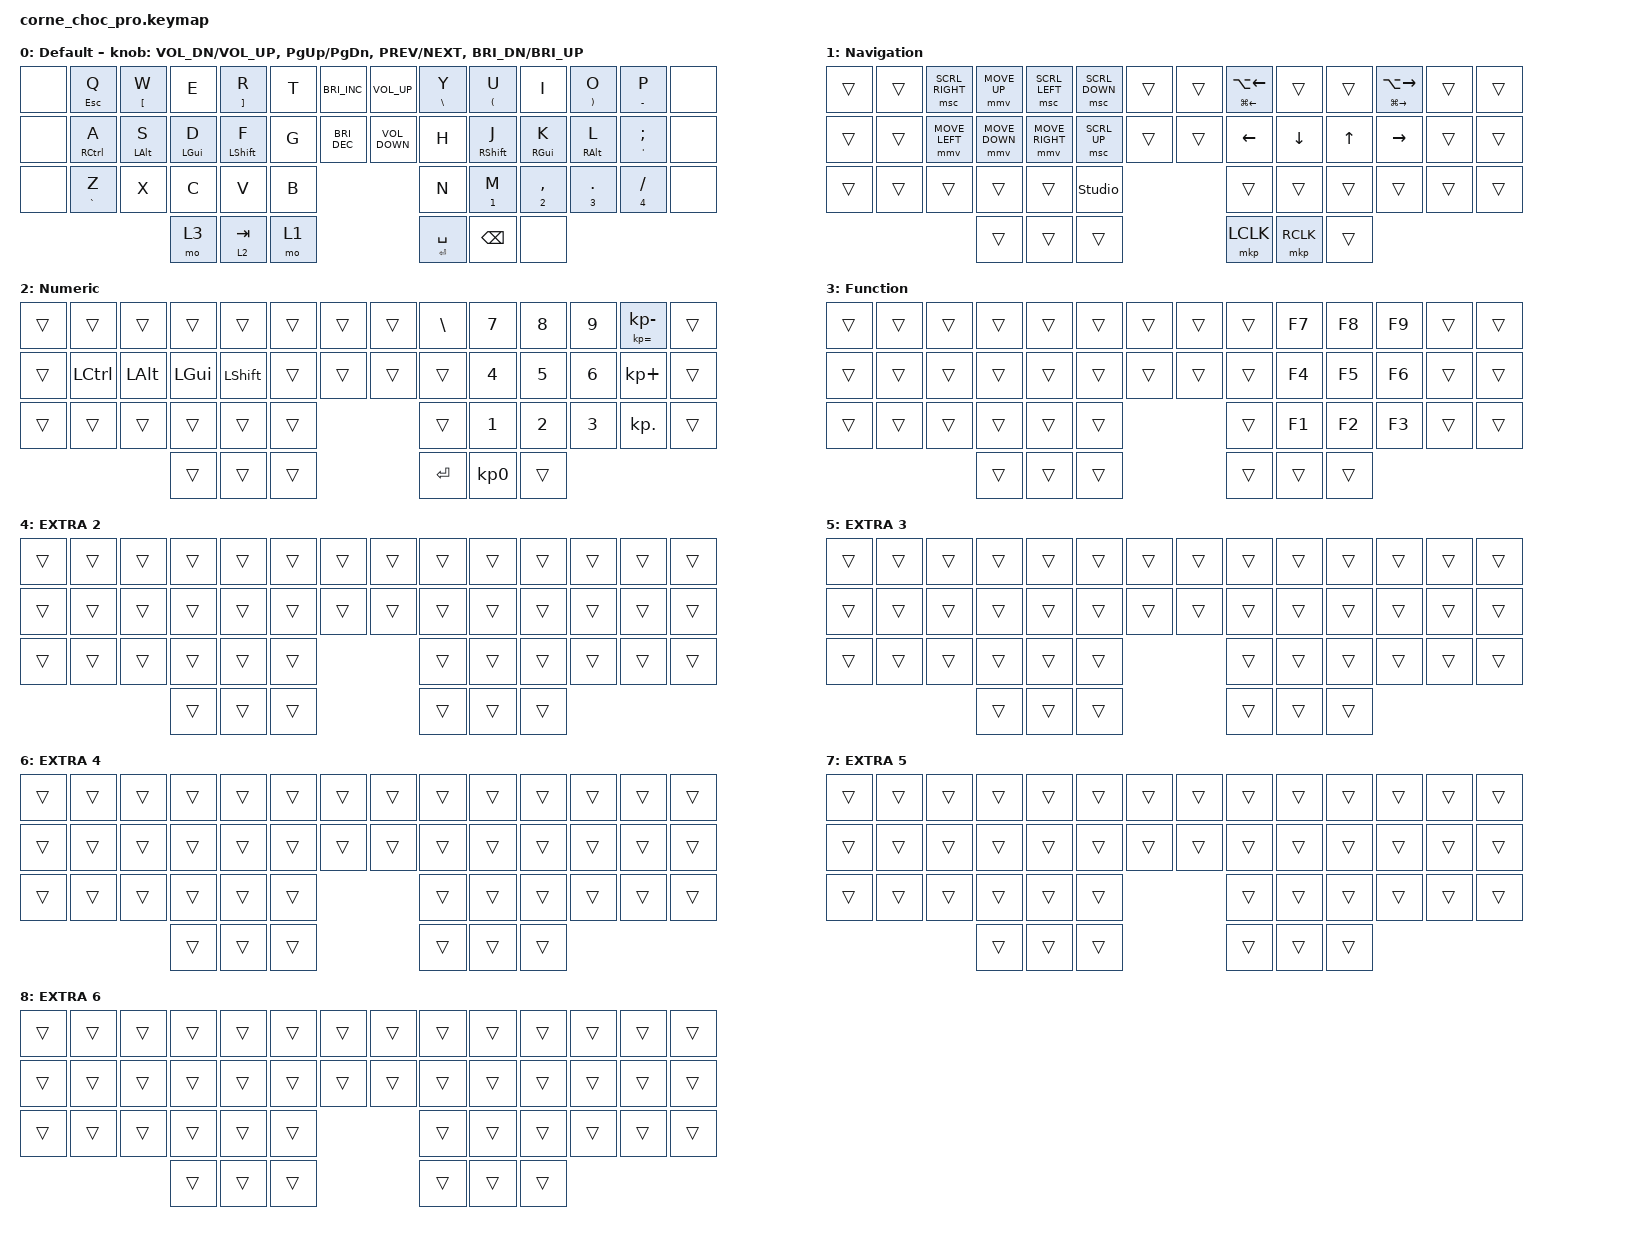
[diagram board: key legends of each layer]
/*
 * Copyright (c) 2020 The ZMK Contributors
 *
 * SPDX-License-Identifier: MIT
 */

#include <behaviors.dtsi>
#include <dt-bindings/zmk/keys.h>
#include <dt-bindings/zmk/pointing.h>

/ {
    chosen { zmk,physical-layout = &default_layout; };
};

&mt {
    tapping-term-ms = <200>; // 200 is the value set by default
    flavor = "tap-preferred";
};

/ {
    combos {
        compatible = "zmk,combos";

        MiddleClick {
            bindings = <&mkp MCLK>;
            key-positions = <43 44>;
            layers = <1>;
        };
    };

    keymap {
        compatible = "zmk,keymap";

        default_layer {
            display-name = "Default";

            // --------------------------------------------------------------------------------
            // |  TAB |  Q  |  W  |  E  |  R  |  T  |  MUTE |  PP   |  Y  |  U   |  I  |  O  |  P  | BSPC |
            // | CTRL |  A  |  S  |  D  |  F  |  G  |  LALT |  RALT |  H  |  J   |  K  |  L  |  ;  |  '   |
            // | SHFT |  Z  |  X  |  C  |  V  |  B  |               |  N  |  M   |  ,  |  .  |  /  | ESC  |
            //                    | GUI | LWR | SPC |               | ENT | RSE  | ALT |

            bindings = <
&none  &mt ESCAPE Q         &mt LEFT_BRACKET W  &kp E           &mt RIGHT_BRACKET R  &kp T  &kp C_BRIGHTNESS_INC  &kp C_VOLUME_UP    &mt BACKSLASH Y  &mt LEFT_PARENTHESIS U  &kp I               &mt RIGHT_PARENTHESIS O  &mt MINUS P         &none
&none  &mt RIGHT_CONTROL A  &mt LEFT_ALT S      &mt LEFT_GUI D  &mt LEFT_SHIFT F     &kp G  &kp C_BRIGHTNESS_DEC  &kp C_VOLUME_DOWN  &kp H            &mt RIGHT_SHIFT J       &mt RIGHT_GUI K     &mt RIGHT_ALT L          &mt SQT SEMICOLON   &none
&none  &mt GRAVE Z          &kp X               &kp C           &kp V                &kp B                                           &kp N            &mt NUMBER_1 M          &mt NUMBER_2 COMMA  &mt NUMBER_3 PERIOD      &mt NUMBER_4 SLASH  &none
                                                &mo 3           &lt 2 TAB            &mo 1                                           &mt RET SPACE    &kp BACKSPACE           &none
            >;

            sensor-bindings = <&inc_dec_kp C_VOL_DN C_VOL_UP &inc_dec_kp PG_UP PG_DN &inc_dec_kp C_PREV C_NEXT &inc_dec_kp C_BRI_DN C_BRI_UP>;
        };

        nav_layer {
            display-name = "Navigation";

            // -----------------------------------------------------------------------------------------
            // |  TAB |  1  |  2  |  3  |  4  |  5    |  LCTRL | RCTRL |  6  |  7  |  8  |  9  |  0  | BSPC |
            // | CTRL | BT1 | BT2 | BT3 | BT4 | BT5   |  LALT  | RALT  | LFT | DWN |  UP | RGT |     |      |
            // | SHFT | BTCR| RGB | RST | BOOT| Unlock|        |       |     |     |     |     |     |      |
            //                    | GUI |     | SPC   |        | ENT   |     | ALT |

            bindings = <
&trans  &trans  &msc SCRL_RIGHT  &mmv MOVE_UP    &msc SCRL_LEFT   &msc SCRL_DOWN  &trans  &trans  &mt LG(LEFT) LA(LEFT)  &trans     &trans        &mt LG(RIGHT) LA(RIGHT)  &trans  &trans
&trans  &trans  &mmv MOVE_LEFT   &mmv MOVE_DOWN  &mmv MOVE_RIGHT  &msc SCRL_UP    &trans  &trans  &kp LEFT               &kp DOWN   &kp UP_ARROW  &kp RIGHT                &trans  &trans
&trans  &trans  &trans           &trans          &trans           &studio_unlock                  &trans                 &trans     &trans        &trans                   &trans  &trans
                                 &trans          &trans           &trans                          &mkp LCLK              &mkp RCLK  &trans
            >;
        };

        num_layer {
            display-name = "Numeric";

            // -----------------------------------------------------------------------------------------
            // |  TAB |  !  |  @  |  #  |  $  |  %  | LCTRL | RCTRL |  ^  |  &  |  *  |  (  |  )  | BSPC |
            // | CTRL |     |     |     |     |     |  LALT | RALT  |  -  |  =  |  [  |  ]  |  \  |  `   |
            // | SHFT |     |     |     |     |     |               |  _  |  +  |  {  |  }  | "|" |  ~   |
            //                    | GUI |     | SPC |               | ENT |     | ALT |

            bindings = <
&trans  &trans            &trans        &trans        &trans          &trans  &trans  &trans  &kp BACKSLASH  &kp NUMBER_7     &kp NUMBER_8  &kp NUMBER_9  &mt KP_EQUAL KP_MINUS  &trans
&trans  &kp LEFT_CONTROL  &kp LEFT_ALT  &kp LEFT_GUI  &kp LEFT_SHIFT  &trans  &trans  &trans  &trans         &kp NUMBER_4     &kp NUMBER_5  &kp NUMBER_6  &kp KP_PLUS            &trans
&trans  &trans            &trans        &trans        &trans          &trans                  &trans         &kp NUMBER_1     &kp NUMBER_2  &kp NUMBER_3  &kp KP_DOT             &trans
                                        &trans        &trans          &trans                  &kp RET        &kp KP_NUMBER_0  &trans
            >;
        };

        func_layer {
            display-name = "Function";
            bindings = <
&trans  &trans  &trans  &trans  &trans  &trans  &trans  &trans  &trans  &kp F7  &kp F8  &kp F9  &trans  &trans
&trans  &trans  &trans  &trans  &trans  &trans  &trans  &trans  &trans  &kp F4  &kp F5  &kp F6  &trans  &trans
&trans  &trans  &trans  &trans  &trans  &trans                  &trans  &kp F1  &kp F2  &kp F3  &trans  &trans
                        &trans  &trans  &trans                  &trans  &trans  &trans
            >;
        };

        extra_layer_2 {
            display-name = "EXTRA 2";
            bindings = <
&trans  &trans  &trans  &trans  &trans  &trans  &trans  &trans  &trans  &trans  &trans  &trans  &trans  &trans
&trans  &trans  &trans  &trans  &trans  &trans  &trans  &trans  &trans  &trans  &trans  &trans  &trans  &trans
&trans  &trans  &trans  &trans  &trans  &trans                  &trans  &trans  &trans  &trans  &trans  &trans
                        &trans  &trans  &trans                  &trans  &trans  &trans
            >;
        };

        extra_layer_3 {
            display-name = "EXTRA 3";
            bindings = <
&trans  &trans  &trans  &trans  &trans  &trans  &trans  &trans  &trans  &trans  &trans  &trans  &trans  &trans
&trans  &trans  &trans  &trans  &trans  &trans  &trans  &trans  &trans  &trans  &trans  &trans  &trans  &trans
&trans  &trans  &trans  &trans  &trans  &trans                  &trans  &trans  &trans  &trans  &trans  &trans
                        &trans  &trans  &trans                  &trans  &trans  &trans
            >;
        };

        extra_layer_4 {
            display-name = "EXTRA 4";
            bindings = <
&trans  &trans  &trans  &trans  &trans  &trans  &trans  &trans  &trans  &trans  &trans  &trans  &trans  &trans
&trans  &trans  &trans  &trans  &trans  &trans  &trans  &trans  &trans  &trans  &trans  &trans  &trans  &trans
&trans  &trans  &trans  &trans  &trans  &trans                  &trans  &trans  &trans  &trans  &trans  &trans
                        &trans  &trans  &trans                  &trans  &trans  &trans
            >;
        };

        extra_layer_5 {
            display-name = "EXTRA 5";
            bindings = <
&trans  &trans  &trans  &trans  &trans  &trans  &trans  &trans  &trans  &trans  &trans  &trans  &trans  &trans
&trans  &trans  &trans  &trans  &trans  &trans  &trans  &trans  &trans  &trans  &trans  &trans  &trans  &trans
&trans  &trans  &trans  &trans  &trans  &trans                  &trans  &trans  &trans  &trans  &trans  &trans
                        &trans  &trans  &trans                  &trans  &trans  &trans
            >;
        };

        extra_layer_6 {
            display-name = "EXTRA 6";
            bindings = <
&trans  &trans  &trans  &trans  &trans  &trans  &trans  &trans  &trans  &trans  &trans  &trans  &trans  &trans
&trans  &trans  &trans  &trans  &trans  &trans  &trans  &trans  &trans  &trans  &trans  &trans  &trans  &trans
&trans  &trans  &trans  &trans  &trans  &trans                  &trans  &trans  &trans  &trans  &trans  &trans
                        &trans  &trans  &trans                  &trans  &trans  &trans
            >;
        };
    };
};
